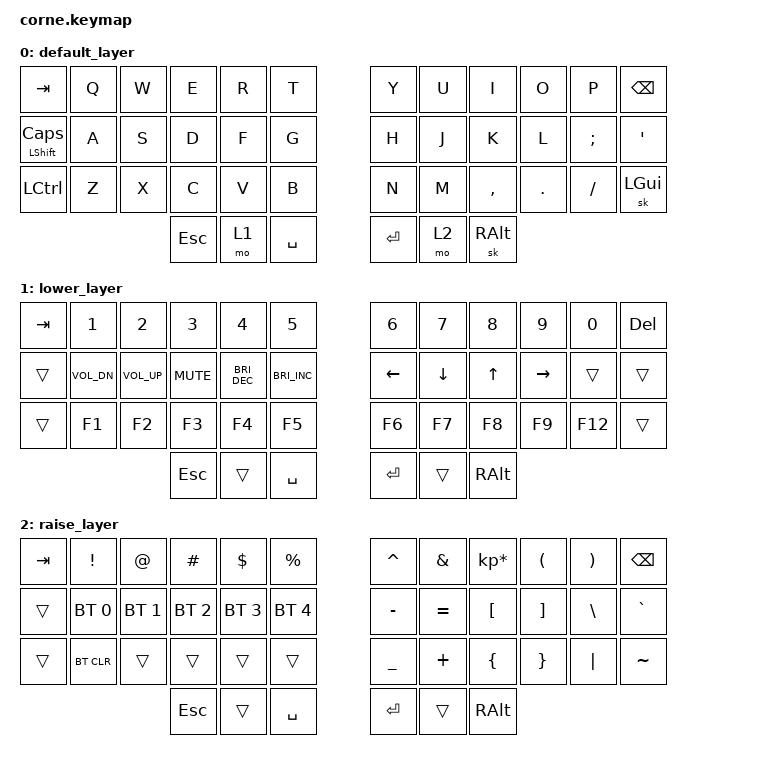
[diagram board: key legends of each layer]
/*
 * Copyright (c) 2020 The ZMK Contributors
 *
 * SPDX-License-Identifier: MIT
 */

#include <behaviors.dtsi>
#include <dt-bindings/zmk/keys.h>
#include <dt-bindings/zmk/bt.h>

/ {
        keymap {
                compatible = "zmk,keymap";

                default_layer {
                        bindings = <
// ----------------------------------------------------   -------------------------------------------------------
// |  TAB           |  Q  |  W  |  E    |  R  |  T    |   |  Y    |  U    |  I       |  O    |  P     | BKSP    |
   &kp TAB          &kp Q &kp W &kp E   &kp R &kp T       &kp Y   &kp U   &kp I      &kp O   &kp P     &kp BSPC
// | LSHIFT/CAPS    |  A  |  S  |  D    |  F  |  G    |   |  H    |  J    |  K       |  L    |  ;     |  '      |
   &mt LSHFT CAPS   &kp A &kp S &kp D   &kp F &kp G       &kp H   &kp J   &kp K      &kp L   &kp SEMI &kp SQT
// | CNTRL          |  Z  |  X  |  C    |  V  |  B    |   |  N    |  M    |  ,       |  .    |  /     | GUI     |
   &kp LCTRL        &kp Z &kp X &kp C   &kp V &kp B       &kp N   &kp M   &kp COMMA  &kp DOT &kp FSLH &sk LGUI
//                              | ESC   | LWR | SPC   |   | ENT   | RSE   | ALT      |
                                &kp ESC &mo 1 &kp SPACE   &kp RET &mo 2   &sk RALT
                        >;
                };
                lower_layer {
                        bindings = <
// ------------------------------------------------------------------------------------   ---------------------------------------------------------
// |  TAB     |  1          |  2          |  3          |  4            |  5          |   |  6      |  7      |  8      |  9      |  0    | DEL   |
   &kp TAB    &kp N1         &kp N2       &kp N3        &kp N4          &kp N5            &kp N6    &kp N7    &kp N8    &kp N9    &kp N0  &kp DEL
// | SHIFT    | Vol down    | Vol up      | Mute        | Darker        | Brighter    |   | LFT     | DWN     |  UP     | RGT     |       |       |
   &trans     &kp C_VOL_DN  &kp C_VOL_UP  &kp C_MUTE    &kp C_BRI_DEC   &kp C_BRI_INC     &kp LEFT  &kp DOWN  &kp UP    &kp RIGHT &trans  &trans
// | CNTRL    |  F1         | F2          | F3          | F4            | F5          |   | F6      | F7      | F8      | F9      | F12   |       |
   &trans     &kp F1        &kp F2        &kp F3        &kp F4          &kp F5            &kp F6    &kp F7    &kp F8    &kp F9    &kp F12 &trans
//                                                      | ESC   |       | SPC         |   | ENT     |         | ALT   |
                                                        &kp ESC &trans  &kp SPACE         &kp RET   &trans    &kp RALT
                        >;
                };

                raise_layer {
                        bindings = <
// --------------------------------------------------------------------------------------   -------------------------------------------------------------------
// |  TAB     |  !          |  @          |  #            |  $            |  %          |   |  ^      |  &      |  *            |  (      |  )      | BKSP    |
   &kp  TAB   &kp EXCL      &kp AT        &kp HASH        &kp DLLR        &kp PRCNT         &kp CARET &kp AMPS  &kp KP_MULTIPLY &kp LPAR  &kp RPAR  &kp BSPC
// | SHIFT    | BT1         | BT2         | BT3           | BT4           | BT5         |   |  -      |  =      |  [            |  ]      |  \      |  `      |
   &trans     &bt BT_SEL 0  &bt BT_SEL 1  &bt BT_SEL 2    &bt BT_SEL 3    &bt BT_SEL 4      &kp MINUS &kp EQUAL &kp LBKT        &kp RBKT  &kp BSLH  &kp GRAVE
// | CNTRL    | BTCLR       |             |               |               |             |   |  _      |  +      |  {            |  }      | "|"     |  ~      |
   &trans     &bt BT_CLR    &trans        &trans          &trans          &trans            &kp UNDER &kp PLUS  &kp LBRC        &kp RBRC  &kp PIPE  &kp TILDE
//                                        | ESC           |               | SPC         |   | ENT     |         | ALT           |
                                          &kp ESC         &trans          &kp SPACE         &kp RET   &trans    &kp RALT
                        >;
                };
        };
};
